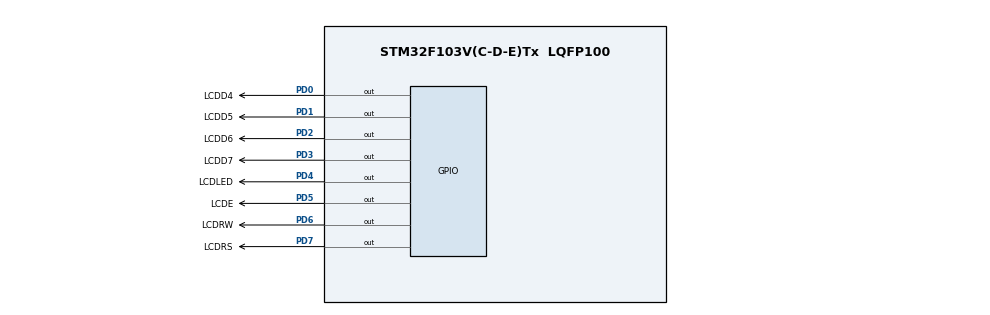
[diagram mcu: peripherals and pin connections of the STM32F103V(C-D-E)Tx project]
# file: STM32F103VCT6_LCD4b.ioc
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Mcu.Family=STM32F1
Mcu.Name=STM32F103V(C-D-E)Tx
Mcu.Package=LQFP100
NVIC.PriorityGroup=NVIC_PRIORITYGROUP_4
PA13.Mode=Serial_Wire
PA13.Signal=SYS_JTMS-SWDIO
PA14.Mode=Serial_Wire
PA14.Signal=SYS_JTCK-SWCLK
PD0.GPIO_Label=LCDD4
PD0.Signal=GPIO_Output
PD1.GPIO_Label=LCDD5
PD1.Signal=GPIO_Output
PD2.GPIO_Label=LCDD6
PD2.Signal=GPIO_Output
PD3.GPIO_Label=LCDD7
PD3.Signal=GPIO_Output
PD4.GPIO_Label=LCDLED
PD4.Signal=GPIO_Output
PD5.GPIO_Label=LCDE
PD5.Signal=GPIO_Output
PD6.GPIO_Label=LCDRW
PD6.Signal=GPIO_Output
PD7.GPIO_Label=LCDRS
PD7.Signal=GPIO_Output
ProjectManager.HeapSize=0x200
ProjectManager.StackSize=0x400
ProjectManager.TargetToolchain=MDK-ARM V5.32
RCC.APB1Freq_Value=8000000
RCC.APB2Freq_Value=8000000
board=custom

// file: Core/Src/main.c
/* USER CODE BEGIN Header */
/**
  ******************************************************************************
  * @file           : main.c
  * @brief          : Main program body
  ******************************************************************************
  * @attention
  *
  * Copyright (c) 2023 STMicroelectronics.
  * All rights reserved.
  *
  * This software is licensed under terms that can be found in the LICENSE file
  * in the root directory of this software component.
  * If no LICENSE file comes with this software, it is provided AS-IS.
  *
  ******************************************************************************
  */
/* USER CODE END Header */
#include "main.h"

void SystemClock_Config(void);
static void MX_GPIO_Init(void);

/* USER CODE BEGIN 0 */
void InitHD44780(void){
	HAL_Delay(15);
	HAL_GPIO_WritePin(LCDRS_GPIO_Port, LCDRS_Pin, GPIO_PIN_RESET);
	HAL_GPIO_WritePin(LCDRW_GPIO_Port, LCDRW_Pin, GPIO_PIN_RESET);
	HAL_GPIO_WritePin(LCDD7_GPIO_Port, LCDD7_Pin, GPIO_PIN_RESET);
	HAL_GPIO_WritePin(LCDD6_GPIO_Port, LCDD6_Pin, GPIO_PIN_RESET);
	HAL_GPIO_WritePin(LCDD5_GPIO_Port, LCDD5_Pin, GPIO_PIN_SET);
	HAL_GPIO_WritePin(LCDD4_GPIO_Port, LCDD4_Pin, GPIO_PIN_SET);

	HAL_GPIO_WritePin(LCDE_GPIO_Port, LCDE_Pin, GPIO_PIN_SET);
	HAL_GPIO_WritePin(LCDE_GPIO_Port, LCDE_Pin, GPIO_PIN_RESET);

	HAL_Delay(5);
	//<D7> <D6> <D5> <D4> = 0011
	HAL_GPIO_WritePin(LCDE_GPIO_Port, LCDE_Pin, GPIO_PIN_SET);
	HAL_GPIO_WritePin(LCDE_GPIO_Port, LCDE_Pin, GPIO_PIN_RESET);

	HAL_Delay(1);
	//<D7> <D6> <D5> <D4> = 0011
	HAL_GPIO_WritePin(LCDE_GPIO_Port, LCDE_Pin, GPIO_PIN_SET);
	HAL_GPIO_WritePin(LCDE_GPIO_Port, LCDE_Pin, GPIO_PIN_RESET);

	HAL_Delay(1);
	//<D7> <D6> <D5> <D4> = 0010
	HAL_GPIO_WritePin(LCDD7_GPIO_Port, LCDD7_Pin, GPIO_PIN_RESET);
	HAL_GPIO_WritePin(LCDD6_GPIO_Port, LCDD6_Pin, GPIO_PIN_RESET);
	HAL_GPIO_WritePin(LCDD5_GPIO_Port, LCDD5_Pin, GPIO_PIN_SET);
	HAL_GPIO_WritePin(LCDD4_GPIO_Port, LCDD4_Pin, GPIO_PIN_RESET);

	HAL_GPIO_WritePin(LCDE_GPIO_Port, LCDE_Pin, GPIO_PIN_SET);
	HAL_GPIO_WritePin(LCDE_GPIO_Port, LCDE_Pin, GPIO_PIN_RESET);
	HAL_Delay(1);
		//<D7> <D6> <D5> <D4> = 0010

	HAL_GPIO_WritePin(LCDE_GPIO_Port, LCDE_Pin, GPIO_PIN_SET);
	HAL_GPIO_WritePin(LCDE_GPIO_Port, LCDE_Pin, GPIO_PIN_RESET);
	HAL_Delay(1);
	//<D7> <D6> <D5> <D4> = N*** = 1***
	HAL_GPIO_WritePin(LCDD7_GPIO_Port, LCDD7_Pin, GPIO_PIN_SET);

	HAL_GPIO_WritePin(LCDE_GPIO_Port, LCDE_Pin, GPIO_PIN_SET);
	HAL_GPIO_WritePin(LCDE_GPIO_Port, LCDE_Pin, GPIO_PIN_RESET);
	HAL_Delay(1);
	//<D7> <D6> <D5> <D4> = 0000
	HAL_GPIO_WritePin(LCDD7_GPIO_Port, LCDD7_Pin, GPIO_PIN_RESET);
	HAL_GPIO_WritePin(LCDD6_GPIO_Port, LCDD6_Pin, GPIO_PIN_RESET);
	HAL_GPIO_WritePin(LCDD5_GPIO_Port, LCDD5_Pin, GPIO_PIN_RESET);
	HAL_GPIO_WritePin(LCDD4_GPIO_Port, LCDD4_Pin, GPIO_PIN_RESET);

	HAL_GPIO_WritePin(LCDE_GPIO_Port, LCDE_Pin, GPIO_PIN_SET);
	HAL_GPIO_WritePin(LCDE_GPIO_Port, LCDE_Pin, GPIO_PIN_RESET);
	HAL_Delay(1);
	//<D7> <D6> <D5> <D4> = 1000
	HAL_GPIO_WritePin(LCDD7_GPIO_Port, LCDD7_Pin, GPIO_PIN_SET);

	HAL_GPIO_WritePin(LCDE_GPIO_Port, LCDE_Pin, GPIO_PIN_SET);
	HAL_GPIO_WritePin(LCDE_GPIO_Port, LCDE_Pin, GPIO_PIN_RESET);
	HAL_Delay(1);
	//<D7> <D6> <D5> <D4> `	= 0000
	HAL_GPIO_WritePin(LCDD7_GPIO_Port, LCDD7_Pin, GPIO_PIN_RESET);

	HAL_GPIO_WritePin(LCDE_GPIO_Port, LCDE_Pin, GPIO_PIN_SET);
	HAL_GPIO_WritePin(LCDE_GPIO_Port, LCDE_Pin, GPIO_PIN_RESET);
	HAL_Delay(1);
	//<D7> <D6> <D5> <D4> = 0001
	HAL_GPIO_WritePin(LCDD4_GPIO_Port, LCDD4_Pin, GPIO_PIN_SET);

	HAL_GPIO_WritePin(LCDE_GPIO_Port, LCDE_Pin, GPIO_PIN_SET);
	HAL_GPIO_WritePin(LCDE_GPIO_Port, LCDE_Pin, GPIO_PIN_RESET);
	HAL_Delay(1);
	//<D7> <D6> <D5> <D4> = 0000
	HAL_GPIO_WritePin(LCDD4_GPIO_Port, LCDD4_Pin, GPIO_PIN_RESET);

	HAL_GPIO_WritePin(LCDE_GPIO_Port, LCDE_Pin, GPIO_PIN_SET);
	HAL_GPIO_WritePin(LCDE_GPIO_Port, LCDE_Pin, GPIO_PIN_RESET);
	HAL_Delay(1);
	//<D7> <D6> <D5> <D4> = 0 0 I/D S =>> 0 1 1 0
	//S: Shifts the entire display either to the right (I/D = 0) or to the left (I/D = 1) when S is 1.
	// I/D =1 (INCREMENT) ; I/D = 0(DECREMENT)

	HAL_GPIO_WritePin(LCDD7_GPIO_Port, LCDD7_Pin, GPIO_PIN_RESET);
	HAL_GPIO_WritePin(LCDD6_GPIO_Port, LCDD6_Pin, GPIO_PIN_SET);
	HAL_GPIO_WritePin(LCDD5_GPIO_Port, LCDD5_Pin, GPIO_PIN_SET);
	HAL_GPIO_WritePin(LCDD4_GPIO_Port, LCDD4_Pin, GPIO_PIN_RESET);

	HAL_GPIO_WritePin(LCDE_GPIO_Port, LCDE_Pin, GPIO_PIN_SET);
	HAL_GPIO_WritePin(LCDE_GPIO_Port, LCDE_Pin, GPIO_PIN_RESET);
	HAL_Delay(1);
	// LED Initilize ends

	// Display control 0B 0000 1 D=1 C=1 B=1
	HAL_GPIO_WritePin(LCDD7_GPIO_Port, LCDD7_Pin, GPIO_PIN_RESET);
	HAL_GPIO_WritePin(LCDD6_GPIO_Port, LCDD6_Pin, GPIO_PIN_RESET);
	HAL_GPIO_WritePin(LCDD5_GPIO_Port, LCDD5_Pin, GPIO_PIN_RESET);
	HAL_GPIO_WritePin(LCDD4_GPIO_Port, LCDD4_Pin, GPIO_PIN_RESET);

	HAL_GPIO_WritePin(LCDE_GPIO_Port, LCDE_Pin, GPIO_PIN_SET);
	HAL_GPIO_WritePin(LCDE_GPIO_Port, LCDE_Pin, GPIO_PIN_RESET);
	HAL_Delay(1);
	HAL_GPIO_WritePin(LCDD7_GPIO_Port, LCDD7_Pin, GPIO_PIN_SET);
	HAL_GPIO_WritePin(LCDD6_GPIO_Port, LCDD6_Pin, GPIO_PIN_SET);
	HAL_GPIO_WritePin(LCDD5_GPIO_Port, LCDD5_Pin, GPIO_PIN_SET);
	HAL_GPIO_WritePin(LCDD4_GPIO_Port, LCDD4_Pin, GPIO_PIN_SET);

	HAL_GPIO_WritePin(LCDE_GPIO_Port, LCDE_Pin, GPIO_PIN_SET);
	HAL_GPIO_WritePin(LCDE_GPIO_Port, LCDE_Pin, GPIO_PIN_RESET);
	HAL_Delay(1);

	HAL_GPIO_WritePin(LCDLED_GPIO_Port, LCDLED_Pin, GPIO_PIN_SET);
	HAL_GPIO_WritePin(LCDRS_GPIO_Port, LCDRS_Pin, GPIO_PIN_SET);
}
void LCD_put(uint8_t ch){
	HAL_GPIO_WritePin(LCDRS_GPIO_Port, LCDRS_Pin, GPIO_PIN_SET);

	HAL_GPIO_WritePin(LCDD7_GPIO_Port, LCDD7_Pin, ch&0x80);
	HAL_GPIO_WritePin(LCDD6_GPIO_Port, LCDD6_Pin, ch&0x40);
	HAL_GPIO_WritePin(LCDD5_GPIO_Port, LCDD5_Pin, ch&0x20);
	HAL_GPIO_WritePin(LCDD4_GPIO_Port, LCDD4_Pin, ch&0x10);

	HAL_GPIO_WritePin(LCDE_GPIO_Port, LCDE_Pin, GPIO_PIN_SET);
	HAL_GPIO_WritePin(LCDE_GPIO_Port, LCDE_Pin, GPIO_PIN_RESET);
	HAL_Delay(1);
	HAL_GPIO_WritePin(LCDD7_GPIO_Port, LCDD7_Pin, ch&0x08);
	HAL_GPIO_WritePin(LCDD6_GPIO_Port, LCDD6_Pin, ch&0x04);
	HAL_GPIO_WritePin(LCDD5_GPIO_Port, LCDD5_Pin, ch&0x02);
	HAL_GPIO_WritePin(LCDD4_GPIO_Port, LCDD4_Pin, ch&0x01);

	HAL_GPIO_WritePin(LCDE_GPIO_Port, LCDE_Pin, GPIO_PIN_SET);
	HAL_GPIO_WritePin(LCDE_GPIO_Port, LCDE_Pin, GPIO_PIN_RESET);
	HAL_Delay(1);

	}
void LCD_cmd(uint8_t ch){
	HAL_GPIO_WritePin(LCDRS_GPIO_Port, LCDRS_Pin, GPIO_PIN_RESET);

	HAL_GPIO_WritePin(LCDD7_GPIO_Port, LCDD7_Pin, ch&0x80);
	HAL_GPIO_WritePin(LCDD6_GPIO_Port, LCDD6_Pin, ch&0x40);
	HAL_GPIO_WritePin(LCDD5_GPIO_Port, LCDD5_Pin, ch&0x20);
	HAL_GPIO_WritePin(LCDD4_GPIO_Port, LCDD4_Pin, ch&0x10);

	HAL_GPIO_WritePin(LCDE_GPIO_Port, LCDE_Pin, GPIO_PIN_SET);
	HAL_GPIO_WritePin(LCDE_GPIO_Port, LCDE_Pin, GPIO_PIN_RESET);
	HAL_Delay(1);
	HAL_GPIO_WritePin(LCDD7_GPIO_Port, LCDD7_Pin, ch&0x08);
	HAL_GPIO_WritePin(LCDD6_GPIO_Port, LCDD6_Pin, ch&0x04);
	HAL_GPIO_WritePin(LCDD5_GPIO_Port, LCDD5_Pin, ch&0x02);
	HAL_GPIO_WritePin(LCDD4_GPIO_Port, LCDD4_Pin, ch&0x01);

	HAL_GPIO_WritePin(LCDE_GPIO_Port, LCDE_Pin, GPIO_PIN_SET);
	HAL_GPIO_WritePin(LCDE_GPIO_Port, LCDE_Pin, GPIO_PIN_RESET);
	HAL_Delay(1);

	}
void LCD_sprintf(uint8_t *s){
	int i=0;
	while(*(s+i) != 0){
		LCD_put(*(s+i));
		i++;
	}
}
void LCD_CGRAM(uint8_t *arr, uint8_t pos){
	for(int i=0; i<7; i++){
		LCD_cmd(0x40 + (pos<<3) + i);
		LCD_put(*(arr+i));
	}

}
/* USER CODE END 0 */

int main(void)
{

  /* MCU Configuration--------------------------------------------------------*/

  /* Reset of all peripherals, Initializes the Flash interface and the Systick. */
  HAL_Init();

  /* Configure the system clock */
  SystemClock_Config();

  /* Initialize all configured peripherals */
  MX_GPIO_Init();
	InitHD44780();
  /* USER CODE BEGIN 2 */
	//<D7> <D6> <D5> <D4> = 0011

	// Display control U 0101 0101
	/*
	HAL_GPIO_WritePin(LCDD7_GPIO_Port, LCDD7_Pin, GPIO_PIN_RESET);
	HAL_GPIO_WritePin(LCDD6_GPIO_Port, LCDD6_Pin, GPIO_PIN_SET);
	HAL_GPIO_WritePin(LCDD5_GPIO_Port, LCDD5_Pin, GPIO_PIN_RESET);
	HAL_GPIO_WritePin(LCDD4_GPIO_Port, LCDD4_Pin, GPIO_PIN_SET);

	HAL_GPIO_WritePin(LCDE_GPIO_Port, LCDE_Pin, GPIO_PIN_SET);
	HAL_GPIO_WritePin(LCDE_GPIO_Port, LCDE_Pin, GPIO_PIN_RESET);
	HAL_Delay(1);
	HAL_GPIO_WritePin(LCDD7_GPIO_Port, LCDD7_Pin, GPIO_PIN_RESET);
	HAL_GPIO_WritePin(LCDD6_GPIO_Port, LCDD6_Pin, GPIO_PIN_SET);
	HAL_GPIO_WritePin(LCDD5_GPIO_Port, LCDD5_Pin, GPIO_PIN_RESET);
	HAL_GPIO_WritePin(LCDD4_GPIO_Port, LCDD4_Pin, GPIO_PIN_SET);

	HAL_GPIO_WritePin(LCDE_GPIO_Port, LCDE_Pin, GPIO_PIN_SET);
	HAL_GPIO_WritePin(LCDE_GPIO_Port, LCDE_Pin, GPIO_PIN_RESET);
	HAL_Delay(1);
	*/
	//LCD_sprintf("HCMUTE");

	//CGRAM ADDRESS

/////
	LCD_cmd(0x40+ (1<<3) + 0);
	LCD_put(0);
	LCD_cmd(0x40+ (1<<3) + 1);
	LCD_put(10);
	LCD_cmd(0x40+ (1<<3) + 2);
	LCD_put(0);
	LCD_cmd(0x40+ (1<<3) + 3);
	LCD_put(17);
	LCD_cmd(0x40+ (1<<3) + 4);
	LCD_put(14);
	LCD_cmd(0x40+ (1<<3) + 5);
	LCD_put(0);
	LCD_cmd(0x40+ (1<<3) + 6);
	LCD_put(0);
	///
	const uint8_t CHAR0[] = {0,10,31,31,14,4,0};
	const uint8_t CHAR1[] = {0,10,0,17,14,0,0};
	const uint8_t CHAR2[] = {16,24,28,30,28,24,16,0};

	LCD_CGRAM((uint8_t *)CHAR0, 0);
	LCD_CGRAM((uint8_t *)CHAR1, 1);
	LCD_CGRAM((uint8_t *)CHAR2, 2);

	LCD_cmd(0x80 + 0x00);
	LCD_put(2);
	LCD_put(1);
	LCD_put(1);
	LCD_put(1);
	LCD_put(1);
	LCD_put(1);
	LCD_put(2);
	///
	LCD_cmd(0x80 + 0x40); // set second line of lcd
	LCD_put(0);
	LCD_sprintf((uint8_t *)"HCMUTE");
	LCD_put(0);

  /* USER CODE END 2 */

  /* Infinite loop */
  while (1)
  {

  }
}

void SystemClock_Config(void)
{
  RCC_OscInitTypeDef RCC_OscInitStruct = {0};
  RCC_ClkInitTypeDef RCC_ClkInitStruct = {0};

  /** Initializes the RCC Oscillators according to the specified parameters
  * in the RCC_OscInitTypeDef structure.
  */
  RCC_OscInitStruct.OscillatorType = RCC_OSCILLATORTYPE_HSI;
  RCC_OscInitStruct.HSIState = RCC_HSI_ON;
  RCC_OscInitStruct.HSICalibrationValue = RCC_HSICALIBRATION_DEFAULT;
  RCC_OscInitStruct.PLL.PLLState = RCC_PLL_NONE;
  if (HAL_RCC_OscConfig(&RCC_OscInitStruct) != HAL_OK)
  {
    Error_Handler();
  }

  /** Initializes the CPU, AHB and APB buses clocks
  */
  RCC_ClkInitStruct.ClockType = RCC_CLOCKTYPE_HCLK|RCC_CLOCKTYPE_SYSCLK
                              |RCC_CLOCKTYPE_PCLK1|RCC_CLOCKTYPE_PCLK2;
  RCC_ClkInitStruct.SYSCLKSource = RCC_SYSCLKSOURCE_HSI;
  RCC_ClkInitStruct.AHBCLKDivider = RCC_SYSCLK_DIV1;
  RCC_ClkInitStruct.APB1CLKDivider = RCC_HCLK_DIV1;
  RCC_ClkInitStruct.APB2CLKDivider = RCC_HCLK_DIV1;

  if (HAL_RCC_ClockConfig(&RCC_ClkInitStruct, FLASH_LATENCY_0) != HAL_OK)
  {
    Error_Handler();
  }
}

static void MX_GPIO_Init(void)
{
  GPIO_InitTypeDef GPIO_InitStruct = {0};

  /* GPIO Ports Clock Enable */
  __HAL_RCC_GPIOE_CLK_ENABLE();
  __HAL_RCC_GPIOC_CLK_ENABLE();
  __HAL_RCC_GPIOA_CLK_ENABLE();
  __HAL_RCC_GPIOB_CLK_ENABLE();
  __HAL_RCC_GPIOD_CLK_ENABLE();

  /*Configure GPIO pin Output Level */
  HAL_GPIO_WritePin(GPIOD, GPIO_PIN_0|GPIO_PIN_1|GPIO_PIN_2|GPIO_PIN_3
                          |GPIO_PIN_4|GPIO_PIN_5|GPIO_PIN_6|GPIO_PIN_7, GPIO_PIN_RESET);

  /*Configure GPIO pins : PE2 PE3 PE4 PE5
                           PE6 PE7 PE8 PE9
                           PE10 PE11 PE12 PE13
                           PE14 PE15 PE0 PE1 */
  GPIO_InitStruct.Pin = GPIO_PIN_2|GPIO_PIN_3|GPIO_PIN_4|GPIO_PIN_5
                          |GPIO_PIN_6|GPIO_PIN_7|GPIO_PIN_8|GPIO_PIN_9
                          |GPIO_PIN_10|GPIO_PIN_11|GPIO_PIN_12|GPIO_PIN_13
                          |GPIO_PIN_14|GPIO_PIN_15|GPIO_PIN_0|GPIO_PIN_1;
  GPIO_InitStruct.Mode = GPIO_MODE_ANALOG;
  HAL_GPIO_Init(GPIOE, &GPIO_InitStruct);

  /*Configure GPIO pins : PC13 PC14 PC15 PC0
                           PC1 PC2 PC3 PC4
                           PC5 PC6 PC7 PC8
                           PC9 PC10 PC11 PC12 */
  GPIO_InitStruct.Pin = GPIO_PIN_13|GPIO_PIN_14|GPIO_PIN_15|GPIO_PIN_0
                          |GPIO_PIN_1|GPIO_PIN_2|GPIO_PIN_3|GPIO_PIN_4
                          |GPIO_PIN_5|GPIO_PIN_6|GPIO_PIN_7|GPIO_PIN_8
                          |GPIO_PIN_9|GPIO_PIN_10|GPIO_PIN_11|GPIO_PIN_12;
  GPIO_InitStruct.Mode = GPIO_MODE_ANALOG;
  HAL_GPIO_Init(GPIOC, &GPIO_InitStruct);

  /*Configure GPIO pins : PA0 PA1 PA2 PA3
                           PA4 PA5 PA6 PA7
                           PA8 PA9 PA10 PA11
                           PA12 PA15 */
  GPIO_InitStruct.Pin = GPIO_PIN_0|GPIO_PIN_1|GPIO_PIN_2|GPIO_PIN_3
                          |GPIO_PIN_4|GPIO_PIN_5|GPIO_PIN_6|GPIO_PIN_7
                          |GPIO_PIN_8|GPIO_PIN_9|GPIO_PIN_10|GPIO_PIN_11
                          |GPIO_PIN_12|GPIO_PIN_15;
  GPIO_InitStruct.Mode = GPIO_MODE_ANALOG;
  HAL_GPIO_Init(GPIOA, &GPIO_InitStruct);

  /*Configure GPIO pins : PB0 PB1 PB2 PB10
                           PB11 PB12 PB13 PB14
                           PB15 PB3 PB4 PB5
                           PB6 PB7 PB8 PB9 */
  GPIO_InitStruct.Pin = GPIO_PIN_0|GPIO_PIN_1|GPIO_PIN_2|GPIO_PIN_10
                          |GPIO_PIN_11|GPIO_PIN_12|GPIO_PIN_13|GPIO_PIN_14
                          |GPIO_PIN_15|GPIO_PIN_3|GPIO_PIN_4|GPIO_PIN_5
                          |GPIO_PIN_6|GPIO_PIN_7|GPIO_PIN_8|GPIO_PIN_9;
  GPIO_InitStruct.Mode = GPIO_MODE_ANALOG;
  HAL_GPIO_Init(GPIOB, &GPIO_InitStruct);

  /*Configure GPIO pins : PD8 PD9 PD10 PD11
                           PD12 PD13 PD14 PD15 */
  GPIO_InitStruct.Pin = GPIO_PIN_8|GPIO_PIN_9|GPIO_PIN_10|GPIO_PIN_11
                          |GPIO_PIN_12|GPIO_PIN_13|GPIO_PIN_14|GPIO_PIN_15;
  GPIO_InitStruct.Mode = GPIO_MODE_ANALOG;
  HAL_GPIO_Init(GPIOD, &GPIO_InitStruct);

  /*Configure GPIO pins : PD0 PD1 PD2 PD3
                           PD4 PD5 PD6 PD7 */
  GPIO_InitStruct.Pin = GPIO_PIN_0|GPIO_PIN_1|GPIO_PIN_2|GPIO_PIN_3
                          |GPIO_PIN_4|GPIO_PIN_5|GPIO_PIN_6|GPIO_PIN_7;
  GPIO_InitStruct.Mode = GPIO_MODE_OUTPUT_PP;
  GPIO_InitStruct.Pull = GPIO_NOPULL;
  GPIO_InitStruct.Speed = GPIO_SPEED_FREQ_LOW;
  HAL_GPIO_Init(GPIOD, &GPIO_InitStruct);

}

void Error_Handler(void)
{
  __disable_irq();
  while (1)
  {
  }
}
